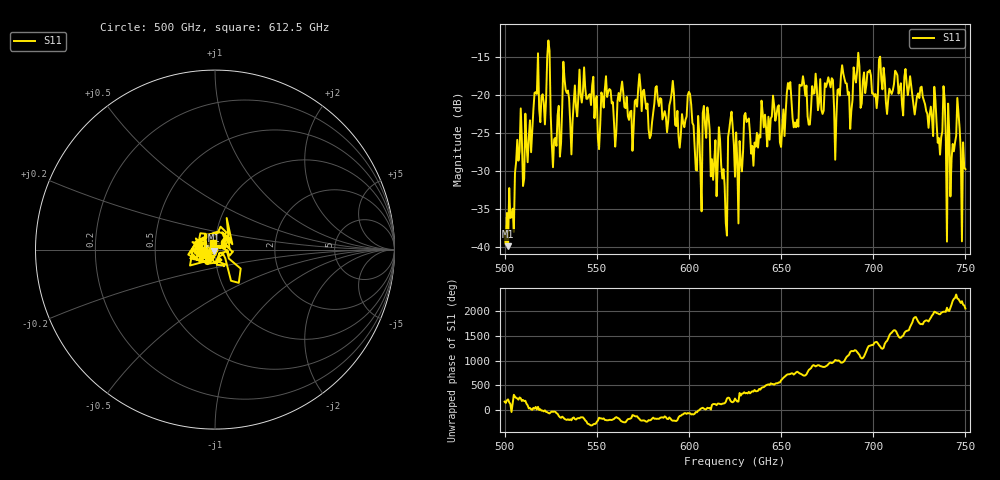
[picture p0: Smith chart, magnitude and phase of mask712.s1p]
!Created with skrf (http://scikit-rf.org).
# GHz S MA R 50.0
!freq magS11 angS11
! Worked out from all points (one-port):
!   401 points, 500 GHz to 750 GHz, reference 50 ohm
!   lowest |S11| = -39.9 dB at 501.9 GHz (marker M1), VSWR 1.02, Z = 49.2 - j0.647 ohm
!   |S11| at or under -10 dB: start of sweep to end of sweep
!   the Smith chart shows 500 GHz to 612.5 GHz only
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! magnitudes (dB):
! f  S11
! 500 GHz  -38.0
! 501.9 GHz  -39.9
! 516.9 GHz  -19.7
! 520.6 GHz  -19.9
! 523.8 GHz  -12.9
! 526.9 GHz  -25.8
! 531.2 GHz  -21.7
! 562.5 GHz  -20.8
! 579.4 GHz  -25.3
! 590.6 GHz  -19.8
! 593.8 GHz  -22.1
! 600.6 GHz  -19.9
! 605.6 GHz  -25.2
! 609.4 GHz  -25.7
! 619.4 GHz  -31.9
! 622.5 GHz  -23.3
! 625 GHz  -30.8
! 656.2 GHz  -23.1
! 676.9 GHz  -19.0
! 680 GHz  -23.0
! 683.8 GHz  -17.2
! 687.5 GHz  -24.5
! 690.6 GHz  -18.4
! 718.8 GHz  -20.0
! 738.1 GHz  -18.9
! 741.2 GHz  -25.0
! 745.6 GHz  -20.4
! 750 GHz  -29.8
